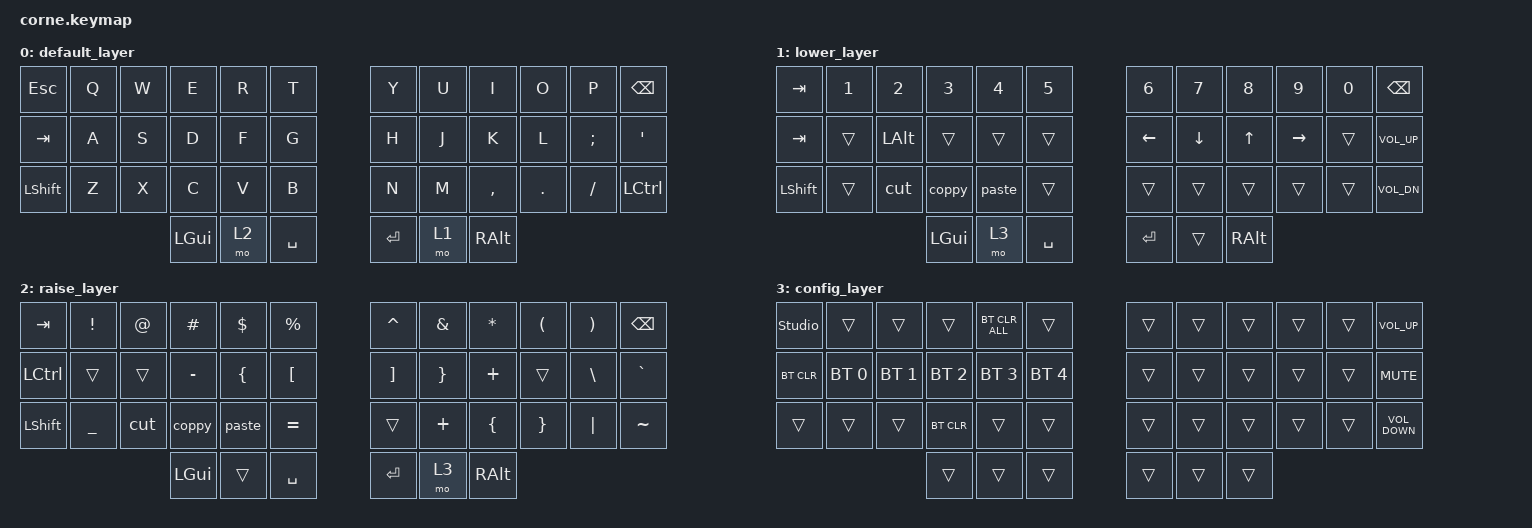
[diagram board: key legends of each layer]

#include <behaviors.dtsi>
#include <dt-bindings/zmk/bt.h>
#include <dt-bindings/zmk/keys.h>

/ {
    macros {
        coppy: coppy {
            compatible = "zmk,behavior-macro";
            #binding-cells = <0>;
            bindings = <&kp LC(C)>;
            label = "COPPY";
        };

        paste: paste {
            compatible = "zmk,behavior-macro";
            #binding-cells = <0>;
            bindings = <&kp LC(V)>;
            label = "PASTE";
        };

        cut: cut {
            compatible = "zmk,behavior-macro";
            #binding-cells = <0>;
            bindings = <&kp LC(X)>;
            label = "CUT";
        };
    };

    keymap {
        compatible = "zmk,keymap";

        default_layer {
            // -----------------------------------------------------------------------------------------
            // |  ESC |  Q  |  W  |  E  |  R  |  T  |   |  Y  |  U   |  I  |  O  |  P  | BKSP |
            // | TAB  |  A  |  S  |  D  |  F  |  G  |   |  H  |  J   |  K  |  L  |  ;  |  '   |
            // | SHFT |  Z  |  X  |  C  |  V  |  B  |   |  N  |  M   |  ,  |  .  |  /  | LCTRL|
            //                    | GUI | LWR | SPC |   | ENT | RSE  | ALT |

            bindings = <
&kp ESC    &kp Q  &kp W  &kp E     &kp R  &kp T        &kp Y    &kp U  &kp I      &kp O    &kp P     &kp BSPC
&kp TAB    &kp A  &kp S  &kp D     &kp F  &kp G        &kp H    &kp J  &kp K      &kp L    &kp SEMI  &kp SQT
&kp LSHFT  &kp Z  &kp X  &kp C     &kp V  &kp B        &kp N    &kp M  &kp COMMA  &kp DOT  &kp FSLH  &kp LCTRL
                         &kp LGUI  &mo 2  &kp SPACE    &kp RET  &mo 1  &kp RALT
            >;
        };

        lower_layer {
            // -----------------------------------------------------------------------------------------
            // |  TAB |  1  |  2  |  3  |  4  |  5  |   |  6  |  7  |  8  |  9  |  0  | BKSP |
            // | BTCLR| BT1 | BT2 | BT3 | BT4 | BT5 |   | LFT | DWN |  UP | RGT |     |      |
            // | SHFT |     |     |     |     |     |   |     |     |     |     |     |      |
            //                    | GUI |     | SPC |   | ENT |     | ALT |

            bindings = <
&kp TAB    &kp N1  &kp N2        &kp N3    &kp N4  &kp N5       &kp N6    &kp N7    &kp N8    &kp N9     &kp N0  &kp BSPC
&kp TAB    &trans  &kp LEFT_ALT  &trans    &trans  &trans       &kp LEFT  &kp DOWN  &kp UP    &kp RIGHT  &trans  &kp C_VOLUME_UP
&kp LSHFT  &trans  &cut          &coppy    &paste  &trans       &trans    &trans    &trans    &trans     &trans  &kp C_VOL_DN
                                 &kp LGUI  &mo 3   &kp SPACE    &kp RET   &trans    &kp RALT
            >;
        };

        raise_layer {
            // -----------------------------------------------------------------------------------------
            // |  TAB |  !  |  @  |  #  |  $  |  %  |   |  ^  |  &  |  *  |  (  |  )  | BKSP |
            // | CTRL |     |     |     |     |     |   |  -  |  =  |  [  |  ]  |  \  |  `   |
            // | SHFT |     |     |     |     |     |   |  _  |  +  |  {  |  }  | "|" |  ~   |
            //                    | GUI |     | SPC |   | ENT |     | ALT |

            bindings = <
&kp TAB    &kp EXCL   &kp AT  &kp HASH   &kp DLLR  &kp PRCNT           &kp CARET          &kp AMPS  &kp ASTRK  &kp LPAR  &kp RPAR  &kp BSPC
&kp LCTRL  &trans     &trans  &kp MINUS  &kp LBRC  &kp LEFT_BRACKET    &kp RIGHT_BRACKET  &kp RBRC  &kp PLUS   &trans    &kp BSLH  &kp GRAVE
&kp LSHFT  &kp UNDER  &cut    &coppy     &paste    &kp EQUAL           &trans             &kp PLUS  &kp LBRC   &kp RBRC  &kp PIPE  &kp TILDE
                              &kp LGUI   &trans    &kp SPACE           &kp RET            &mo 3     &kp RALT
            >;
        };

        config_layer {
            bindings = <
&studio_unlock  &trans    &trans        &trans        &bt BT_CLR_ALL  &trans          &trans  &trans  &trans  &trans  &trans  &kp C_VOLUME_UP
&bt BT_CLR  &bt BT_SEL 0  &bt BT_SEL 1  &bt BT_SEL 2  &bt BT_SEL 3    &bt BT_SEL 4    &trans  &trans  &trans  &trans  &trans  &kp C_MUTE
&trans      &trans        &trans        &bt BT_CLR    &trans          &trans          &trans  &trans  &trans  &trans  &trans  &kp C_VOLUME_DOWN
                                        &trans        &trans          &trans          &trans  &trans  &trans
            >;
        };
    };
};
